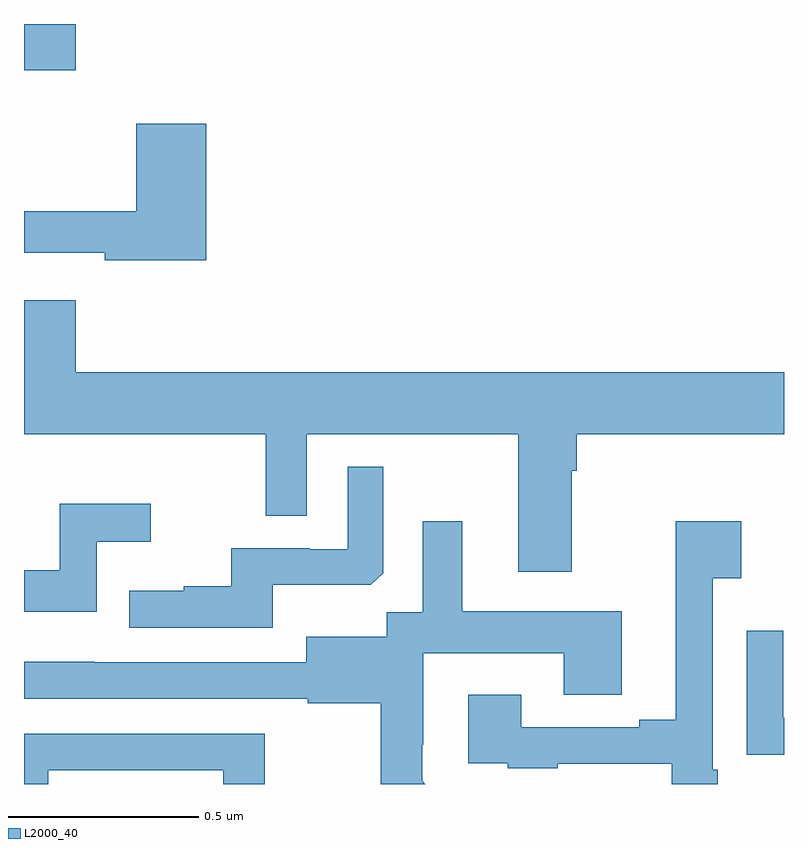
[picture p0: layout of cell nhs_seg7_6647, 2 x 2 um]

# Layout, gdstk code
import gdstk
lib = gdstk.Library(unit=1e-6, precision=1e-09)
def R(c, l, rs):  # rectangles x0, y0, x1, y1
    for r in rs: c.add(gdstk.rectangle(r[:2], r[2:], *l))
def P(c, l, *ps):  # polygons
    for p in ps: c.add(gdstk.Polygon(p, *l))
L2000_40 = (2000, 40)

nhs_seg7_6647 = lib.new_cell('nhs_seg7_6647')
R(nhs_seg7_6647, L2000_40, [(201,1030.878,201.136,1031)])
P(nhs_seg7_6647, L2000_40, [(201.479,1030.738),(201.296,1030.738),(201.296,1030.507),(201,1030.507),(201,1030.398),(201.212,1030.398),(201.212,1030.378),(201.479,1030.378)],
  [(202.441,1029.824),(202.454,1029.824),(202.454,1029.92),(203,1029.92),(203,1030.084),(201.136,1030.084),(201.136,1030.273),(201,1030.273),(201,1029.92),(201.636,1029.92),(201.636,1029.706),(201.744,1029.706),(201.744,1029.92),(202.301,1029.92),(202.301,1029.558),(202.441,1029.558)],
  [(201.655,1029.524),(201.913,1029.524),(201.945,1029.555),(201.945,1029.835),(201.852,1029.835),(201.852,1029.618),(201.752,1029.618),(201.752,1029.621),(201.545,1029.621),(201.545,1029.52),(201.421,1029.52),(201.421,1029.508),(201.277,1029.508),(201.277,1029.411),(201.655,1029.411)],
  [(201.192,1029.638),(201.334,1029.638),(201.334,1029.737),(201.094,1029.737),(201.094,1029.562),(201,1029.562),(201,1029.453),(201.192,1029.453)],
  [(202.048,1029.008),(202.048,1029.103),(202.05,1029.103),(202.05,1029.344),(202.421,1029.344),(202.421,1029.235),(202.573,1029.235),(202.573,1029.454),(202.153,1029.454),(202.153,1029.691),(202.049,1029.691),(202.049,1029.452),(201.954,1029.452),(201.954,1029.388),(201.743,1029.388),(201.743,1029.321),(201.185,1029.321),(201.185,1029.322),(201,1029.322),(201,1029.225),(201.747,1029.225),(201.747,1029.213),(201.939,1029.213),(201.939,1029),(202.056,1029)],
  [(202.825,1029.037),(202.812,1029.037),(202.812,1029.542),(202.888,1029.542),(202.888,1029.691),(202.715,1029.691),(202.715,1029.169),(202.619,1029.169),(202.619,1029.15),(202.309,1029.15),(202.309,1029.235),(202.169,1029.235),(202.169,1029.054),(202.273,1029.054),(202.273,1029.042),(202.405,1029.042),(202.405,1029.053),(202.704,1029.053),(202.704,1029),(202.825,1029)],
  [(203,1029.174),(202.998,1029.174),(202.998,1029.403),(202.902,1029.403),(202.902,1029.077),(203,1029.077)],
  [(201.064,1029.036),(201.524,1029.036),(201.524,1029),(201.634,1029),(201.634,1029.132),(201,1029.132),(201,1029),(201.064,1029)])

lib.write_gds('nhs_seg7_6647.gds')
